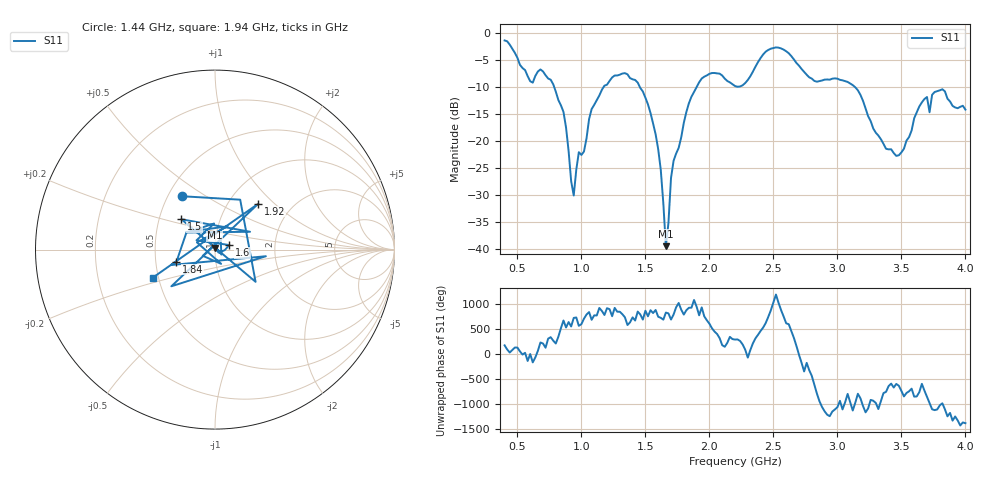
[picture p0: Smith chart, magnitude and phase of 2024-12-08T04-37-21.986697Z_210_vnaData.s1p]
!Created with skrf (http://scikit-rf.org).
# Hz S RI R 50.0
!freq ReS11 ImS11
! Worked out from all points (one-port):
!   181 points, 400 MHz to 4 GHz, reference 50 ohm
!   lowest |S11| = -39.5 dB at 1.66 GHz (marker M1), VSWR 1.02, Z = 49.8 + j1.03 ohm
!   |S11| at or under -10 dB: 788 MHz to 1.172 GHz (384.5 MHz wide, 39.2 % of centre); 1.457 GHz to 1.899 GHz (441.8 MHz wide, 26.3 % of centre); 3.139 GHz to end of sweep
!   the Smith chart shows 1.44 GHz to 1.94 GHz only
!   S11 on the Smith chart (normalised r, x): 1.44 GHz: 0.59, +0.40; 1.5 GHz: 0.65, +0.24; 1.6 GHz: 1.17, +0.06; 1.84 GHz: 0.64, -0.09; 1.92 GHz: 1.37, +0.80; 1.94 GHz: 0.46, -0.17
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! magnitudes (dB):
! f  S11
! 400 MHz  -1.3
! 600 MHz  -8.9
! 760 MHz  -8.6
! 860 MHz  -14.6
! 940 MHz  -30.1
! 980 MHz  -22.1
! 1.02 GHz  -22.0
! 1.08 GHz  -14.1
! 1.3 GHz  -7.7
! 1.44 GHz  -9.1
! 1.5 GHz  -11.9
! 1.6 GHz  -21.5
! 1.66 GHz  -39.5
! 1.7 GHz  -26.9
! 1.76 GHz  -21.3
! 1.84 GHz  -13.0
! 1.92 GHz  -9.1
! 1.94 GHz  -8.4
! 2.2 GHz  -9.8
! 2.48 GHz  -2.8
! 2.66 GHz  -4.8
! 2.82 GHz  -8.8
! 3.1 GHz  -9.3
! 3.38 GHz  -21.4
! 3.48 GHz  -22.6
! 3.56 GHz  -19.3
! 3.76 GHz  -10.9
! 4 GHz  -14.2
